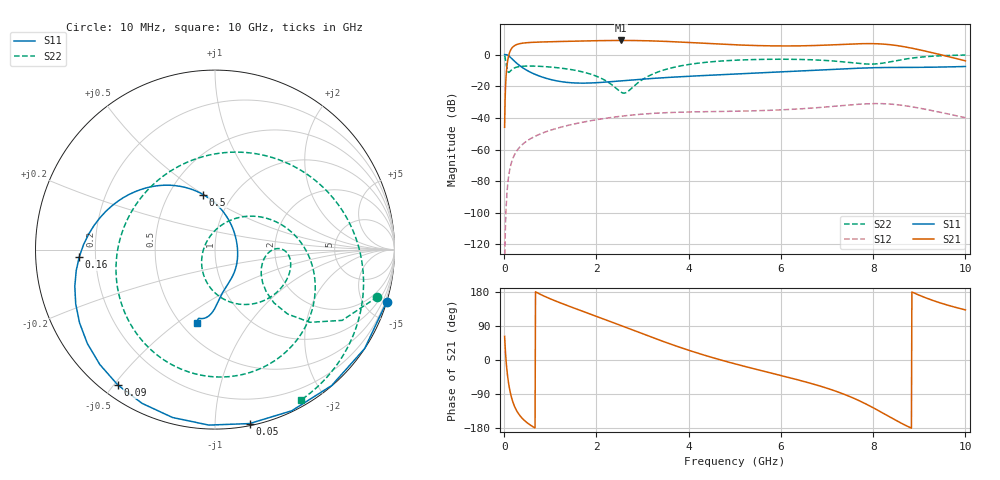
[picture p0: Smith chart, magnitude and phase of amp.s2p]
! 2-Port simulation of a 2.4 GHz amplifier, including noise parameters
! Port 1: input
! Port 2: output
# HZ S MA R 50
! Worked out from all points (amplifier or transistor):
!   1000 points, 10 MHz to 10 GHz, reference 50 ohm
!   highest |S21| = 8.9 dB at 2.53 GHz (marker M1)
!   |S21| within 3 dB of that: 240.9 MHz to 5.224 GHz (4.983 GHz wide, 182 % of centre)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
!   unconditionally stable (mu >= 1): start of sweep to end of sweep
!   at 1.67 GHz: K = 23.51, MAG = 9.0 dB, |S12| = -42.9 dB
!   at 5.01 GHz: K = 7.84, MAG = 9.0 dB, |S12| = -35.8 dB
!   at 10 GHz: K = 3.98, MAG = 9.0 dB, |S12| = -39.9 dB
!   lowest NFmin = 5.88 dB at 10 GHz
!   S11 on the Smith chart (normalised r, x): 10 MHz: 0.00, -6.75; 50 MHz: 0.01, -1.22; 90 MHz: 0.05, -0.51; 160 MHz: 0.14, -0.03; 500 MHz: 0.73, +0.50; 10 GHz: 0.60, -0.59
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1e7  1 -16.9  0.005041 62.4  8.03e-08 -27.8  0.9429 -16.2
5e7  0.9882 -78.8  0.3008 -14.0  2.396e-05 -104.0  0.4432 -42.1
9e7  0.9285 -125.7  0.8257 -56.2  0.0001184 -146.2  0.2779 -21.6
1.6e8  0.7572 -177.0  1.55 -99.2  0.000395 170.8  0.3281 0.3
2.2e8  0.6237 156.9  1.896 -121.0  0.0006645 149.1  0.3766 0.1
3.1e8  0.4798 132.2  2.163 -141.5  0.001068 128.6  0.4131 -4.7
5e8  0.3136 102.1  2.378 -165.8  0.001894 104.3  0.4342 -15.8
9.9e8  0.1653 57.0  2.543 161.9  0.00401 72.1  0.4055 -41.2
1.68e9  0.1252 6.3  2.688 129.6  0.007193 39.9  0.2881 -78.0
2.53e9  0.1475 -35.8  2.794 91.0  0.01126 1.4  0.06542 -176.8
2.92e9  0.164 -48.4  2.766 72.9  0.01286 -16.6  0.1354 77.0
3.34e9  0.1812 -58.7  2.666 53.8  0.01418 -35.7  0.2839 41.0
4.06e9  0.2081 -70.8  2.385 23.4  0.01542 -66.0  0.5012 0.7
5.01e9  0.2429 -79.9  2.033 -10.3  0.01622 -99.6  0.6636 -41.1
6.67e9  0.316 -89.0  1.921 -62.4  0.02041 -151.4  0.6848 -110.5
7.2e9  0.3444 -91.9  2.053 -82.7  0.02354 -171.6  0.6165 -143.6
7.67e9  0.3701 -95.2  2.192 -105.8  0.02678 165.3  0.5271 170.0
7.99e9  0.3841 -98.0  2.216 -125.3  0.0282 145.9  0.5013 123.4
8.34e9  0.3916 -100.9  2.071 -148.9  0.02751 122.4  0.5788 67.7
8.64e9  0.3928 -102.6  1.804 -168.6  0.02481 102.7  0.699 28.9
9.06e9  0.3953 -103.6  1.359 167.9  0.0196 79.3  0.8389 -9.8
1e10  0.4202 -104.0  0.633 132.2  0.01008 43.8  0.9657 -60.4
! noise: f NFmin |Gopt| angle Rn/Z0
1e+07  21.3  1  16.87  2.535e+06
1.12e+09  6.964  0.1157  -149.5  0.9873
2.23e+09  6.393  0.1177  166.2  0.8252
3.34e+09  6.182  0.1516  149.4  0.7654
4.45e+09  6.072  0.1866  141.5  0.7342
5.56e+09  6.005  0.2212  137.1  0.7147
6.67e+09  5.959  0.2552  134.5  0.7011
7.78e+09  5.927  0.2886  133.1  0.6907
8.89e+09  5.903  0.3211  132.4  0.6823
1e+10  5.885  0.3526  132.2  0.6752
